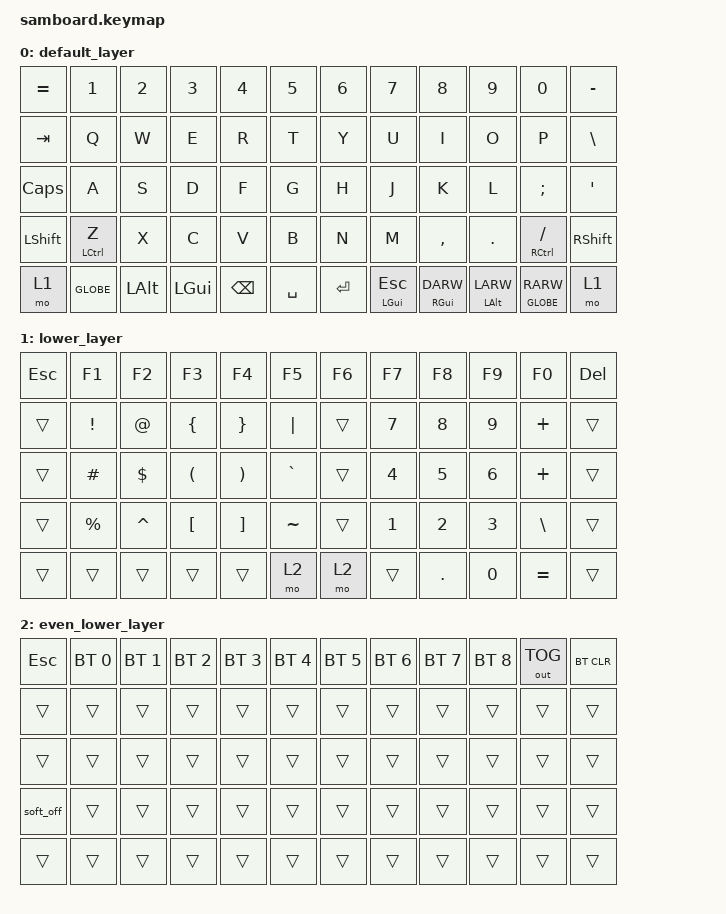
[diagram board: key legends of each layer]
#include <behaviors.dtsi>
#include <dt-bindings/zmk/keys.h>
#include <dt-bindings/zmk/bt.h>
#include <dt-bindings/zmk/outputs.h>
 {
    keymap {
        compatible = "zmk,keymap";

        default_layer {
            // ---------------------------------------------------------------------------------
            // |  =   |  1  |  2  |  3  |  4  |  5  |     |  6  |  7  |  8  |  9  |  0  |   -   |
            // | TAB  |  Q  |  W  |  E  |  R  |  T  |     |  Y  |  U  |  I  |  O  |  P  |   \   |
            // | CAPS |  A  |  S  |  D  |  F  |  G  |     |  H  |  J  |  K  |  L  |  ;  |   '   |
            // | SHFT |Ctrl/Z|  X |  C  |  V  |  B  |     |  N  |  M  |  ,  |  .  |Ctrl/?|SHFT |
            // |  FN  | ALT | GUI| BSPC| SPC | SPC |     | RET |ESC/CMD|CT/DWN|ALT/LFT|CMD/RGT| FN  |
            bindings = <
                &kp EQUAL    &kp N1       &kp N2       &kp N3       &kp N4       &kp N5           &kp N6       &kp N7       &kp N8       &kp N9       &kp N0       &kp MINUS
                &kp TAB      &kp Q        &kp W        &kp E        &kp R        &kp T            &kp Y        &kp U        &kp I        &kp O        &kp P        &kp BSLH
                &kp CAPS     &kp A        &kp S        &kp D        &kp F        &kp G            &kp H        &kp J        &kp K        &kp L        &kp SEMI     &kp APOS
                &kp LSHFT    &mt LCTRL Z  &kp X        &kp C        &kp V        &kp B            &kp N        &kp M        &kp COMMA    &kp DOT      &mt RCTRL FSLH &kp RSHIFT
                &mo 1        &kp GLOBE    &kp LALT     &kp LGUI     &kp BSPC     &kp SPC          &kp RET      &mt LGUI ESC &mt RGUI DARW &mt LALT LARW &mt GLOBE RARW &mo 1
            >;
        };

        lower_layer {
            // ------------------------------------------------------------------------------------------------------------
            // | ESC | BT1 | BT2 | BT3 | BT4 | BT5 |       |      |      |      |      |      | BTCLR |
            // | !   | @   | #   | $   | %   | ^   |       |  ←   |  ↓   |  ↑   |  →   |  +   |       |
            // | #   | $   | (   | )   | [   | ]   |       |  4   |  5   |  6   |  +   |      |       |
            // | %   | ^   | [   | ]   | ~   |     |       |  1   |  2   |  3   |  \   |      |       |
            // |     |     |     |     |     |fn2  |       |FN2   |  .   |  0   |  =   |      |       |
            bindings = <
                &kp ESC  &kp F1        &kp F2         &kp F3         &kp F4         &kp F5                &kp F6       &kp F7        &kp F8       &kp F9       &kp F0       &kp DEL
                &trans   &kp EXCL      &kp AT         &kp LBRC       &kp RBRC       &kp PIPE              &trans       &kp N7        &kp N8       &kp N9       &kp PLUS     &trans
                &trans   &kp HASH      &kp DLLR       &kp LPAR       &kp RPAR       &kp GRAVE             &trans       &kp N4        &kp N5       &kp N6       &kp PLUS     &trans
                &trans   &kp PRCNT     &kp CARET      &kp LBKT       &kp RBKT       &kp TILDE             &trans       &kp N1        &kp N2       &kp N3       &kp BSLH     &trans
                &trans   &trans        &trans         &trans         &trans         &mo 2                 &mo 2        &trans        &kp DOT      &kp N0       &kp EQUAL    &trans
            >;
        };

	even_lower_layer {
	bindings = <
                &kp ESC  &bt BT_SEL 0  &bt BT_SEL 1   &bt BT_SEL 2   &bt BT_SEL 3   &bt BT_SEL 4          &bt BT_SEL 5 &bt BT_SEL 6  &bt BT_SEL 7 &bt BT_SEL 8 &out OUT_TOG &bt BT_CLR
                &trans   &trans        &trans         &trans         &trans         &trans    	          &trans      &trans        &trans        &trans       &trans       &trans
                &trans   &trans        &trans         &trans         &trans         &trans    	          &trans      &trans        &trans        &trans       &trans       &trans
                &soft_off   &trans     &trans         &trans         &trans         &trans    	          &trans      &trans        &trans        &trans       &trans       &trans
                &trans   &trans        &trans         &trans         &trans         &trans    	          &trans      &trans        &trans        &trans       &trans       &trans
        	>;
	};
    };
};
